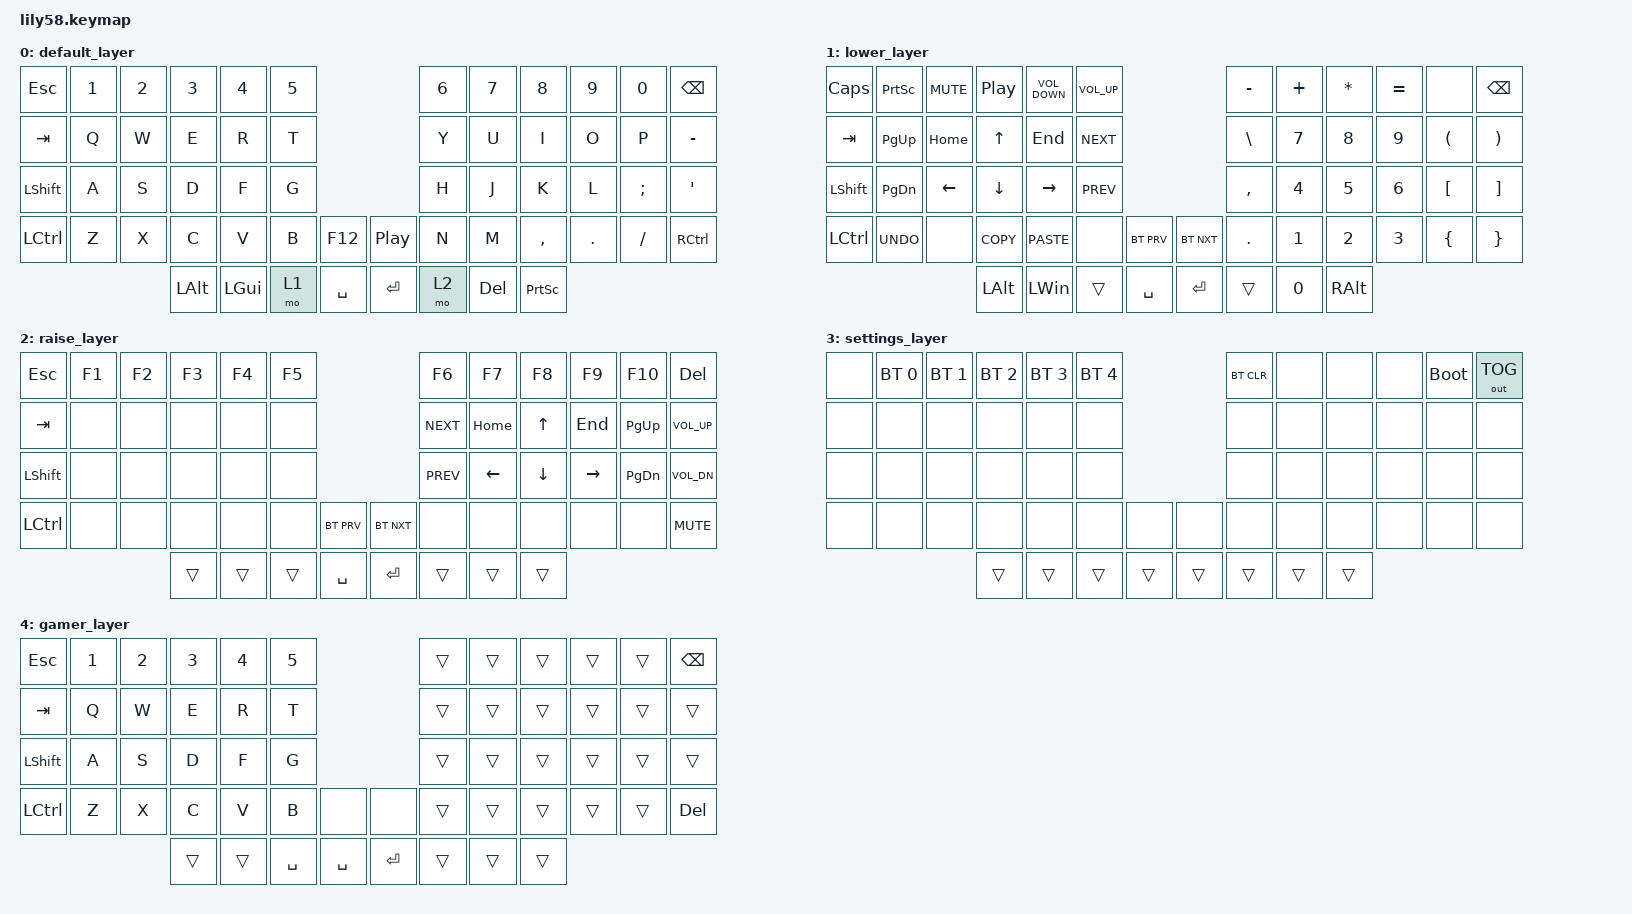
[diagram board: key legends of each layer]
/*
 * Copyright (c) 2020 The ZMK Contributors
 *
 * SPDX-License-Identifier: MIT
 */

#include <behaviors.dtsi>
#include <dt-bindings/zmk/bt.h>
#include <dt-bindings/zmk/keys.h>
#include <dt-bindings/zmk/outputs.h>

/ {
    combos {
        compatible = "zmk,combos";

        settings {
            bindings = <&mo 3>;
            key-positions = <36 49>;
        };

        enable_gamer {
            bindings = <&tog 4>;
            key-positions = <4 6>;
        };

        tog_lower_layer {
            bindings = <&tog 1>;
            key-positions = <54 43>;
        };

        tog_raise_layer {
            bindings = <&tog 2>;
            key-positions = <53 42>;
        };

        ctrl_alt_del {
            bindings = <&kp LC(LA(DELETE))>;
            key-positions = <36 50 11>;
        };
    };

    keymap {
        compatible = "zmk,keymap";

        default_layer {
            // ------------------------------------------------------------------------------------------------------------
            // |  ESC  |  1  |  2  |  3   |  4     |  5   |                   |  6   |  7     |  8    |  9   |   0   |   `   |
            // |  TAB  |  Q  |  W  |  E   |  R     |  T   |                   |  Y   |  U     |  I    |  O   |   P   |   -   |
            // |  CTRL |  A  |  S  |  D   |  F     |  G   |                   |  H   |  J     |  K    |  L   |   ;   |   '   |
            // | SHIFT |  Z  |  X  |  C   |  V     |  B   |   "["  |  |  "]"  |  N   |  M     |  ,    |  .   |   /   | SHIFT |
            //                     | ALT  |  GUI   | LOWER  | SPACE |  | ENTER | BSPC |  RAISE | GUI   |

            bindings = <
&kp ESC    &kp N1  &kp N2  &kp N3    &kp N4    &kp N5                                 &kp N6  &kp N7      &kp N8           &kp N9   &kp N0    &kp BACKSPACE
&kp TAB    &kp Q   &kp W   &kp E     &kp R     &kp T                                  &kp Y   &kp U       &kp I            &kp O    &kp P     &kp MINUS
&kp LSHFT  &kp A   &kp S   &kp D     &kp F     &kp G                                  &kp H   &kp J       &kp K            &kp L    &kp SEMI  &kp SQT
&kp LCTRL  &kp Z   &kp X   &kp C     &kp V     &kp B   &kp F12      &kp C_PLAY_PAUSE  &kp N   &kp M       &kp COMMA        &kp DOT  &kp FSLH  &kp RCTRL
                           &kp LALT  &kp LGUI  &mo 1   &kp SPACE    &kp RET           &mo 2   &kp DELETE  &kp PRINTSCREEN
            >;
        };

        lower_layer {
            // ------------------------------------------------------------------------------------------------------------
            // | BTCLR | BT1 | BT2 |  BT3 |  BT4 |  BT5 |                   |      |       |       |      |       |       |
            // |  F1   |  F2 |  F3 |  F4  |  F5  |  F6  |                   |  F7  |  F8   |  F9   |  F10 |  F11  |  F12  |
            // |   `   |  !  |  @  |  #   |  $   |  %   |                   |  ^   |  &    |  *    |  (   |   )   |   ~   |
            // |       |     |     |      |      |      |        |  |       |      |  _    |  +    |  {   |   }   |  "|"  |
            //                     |      |      |      |        |  |       |      |       |       |

            bindings = <
&kp CAPSLOCK    &kp PRINTSCREEN  &kp K_MUTE      &kp C_PLAY_PAUSE  &kp C_VOLUME_DOWN  &kp C_VOL_UP                            &kp MINUS      &kp PLUS  &kp ASTERISK   &kp EQUAL  &none                 &kp BACKSPACE
&kp TAB         &kp PAGE_UP      &kp HOME        &kp UP_ARROW      &kp END            &kp K_NEXT                              &kp BACKSLASH  &kp N7    &kp N8         &kp N9     &kp LEFT_PARENTHESIS  &kp RIGHT_PARENTHESIS
&kp LEFT_SHIFT  &kp PAGE_DOWN    &kp LEFT_ARROW  &kp DOWN_ARROW    &kp RIGHT_ARROW    &kp K_PREV                              &kp COMMA      &kp N4    &kp N5         &kp N6     &kp LEFT_BRACKET      &kp RIGHT_BRACKET
&kp LCTRL       &kp K_UNDO       &none           &kp K_COPY        &kp K_PASTE        &none         &bt BT_PRV    &bt BT_NXT  &kp DOT        &kp N1    &kp N2         &kp N3     &kp LEFT_BRACE        &kp RIGHT_BRACE
                                                 &kp LEFT_ALT      &kp LWIN           &trans        &kp SPACE     &kp ENTER   &trans         &kp N0    &kp RIGHT_ALT
            >;
        };

        raise_layer {
            // ------------------------------------------------------------------------------------------------------------
            // |       |     |     |      |      |      |                   |      |       |       |      |       |       |
            // |   `   |  1  |  2  |  3   |  4   |  5   |                   |  6   |   7   |   8   |  9   |   0   |       |
            // |   F1  |  F2 |  F3 |  F4  |  F5  |  F6  |                   |      |   <-  |   v   |  ^   |  ->   |       |
            // |   F7  |  F8 |  F9 |  F10 |  F11 |  F12 |        |  |       |  +   |   -   |   =   |  [   |   ]   |   \   |
            //                     |      |      |      |        |  |       |      |       |       |

            bindings = <
&kp ESCAPE        &kp F1  &kp F2  &kp F3  &kp F4  &kp F5                            &kp F6      &kp F7          &kp F8          &kp F9           &kp F10        &kp DEL
&kp TAB           &none   &none   &none   &none   &none                             &kp K_NEXT  &kp HOME        &kp UP_ARROW    &kp END          &kp PAGE_UP    &kp C_VOLUME_UP
&kp LEFT_SHIFT    &none   &none   &none   &none   &none                             &kp K_PREV  &kp LEFT_ARROW  &kp DOWN_ARROW  &kp RIGHT_ARROW  &kp PAGE_DOWN  &kp C_VOL_DN
&kp LEFT_CONTROL  &none   &none   &none   &none   &none   &bt BT_PRV    &bt BT_NXT  &none       &none           &none           &none            &none          &kp K_MUTE
                                  &trans  &trans  &trans  &kp SPACE     &kp ENTER   &trans      &trans          &trans
            >;
        };

        settings_layer {
            bindings = <
&none  &bt BT_SEL 0  &bt BT_SEL 1  &bt BT_SEL 2  &bt BT_SEL 3  &bt BT_SEL 4                    &bt BT_CLR  &none   &none   &none  &bootloader  &out OUT_TOG
&none  &none         &none         &none         &none         &none                           &none       &none   &none   &none  &none        &none
&none  &none         &none         &none         &none         &none                           &none       &none   &none   &none  &none        &none
&none  &none         &none         &none         &none         &none         &none     &none   &none       &none   &none   &none  &none        &none
                                   &trans        &trans        &trans        &trans    &trans  &trans      &trans  &trans
            >;
        };

        gamer_layer {
            bindings = <
&kp ESCAPE      &kp NUMBER_1  &kp NUMBER_2  &kp NUMBER_3  &kp NUMBER_4  &kp NUMBER_5                          &trans  &trans  &trans  &trans  &trans  &kp BACKSPACE
&kp TAB         &kp Q         &kp W         &kp E         &kp R         &kp T                                 &trans  &trans  &trans  &trans  &trans  &trans
&kp LEFT_SHIFT  &kp A         &kp S         &kp D         &kp F         &kp G                                 &trans  &trans  &trans  &trans  &trans  &trans
&kp LCTRL       &kp Z         &kp X         &kp C         &kp V         &kp B         &none        &none      &trans  &trans  &trans  &trans  &trans  &kp DEL
                                            &trans        &trans        &kp SPACE     &kp SPACE    &kp ENTER  &trans  &trans  &trans
            >;
        };
    };
};
